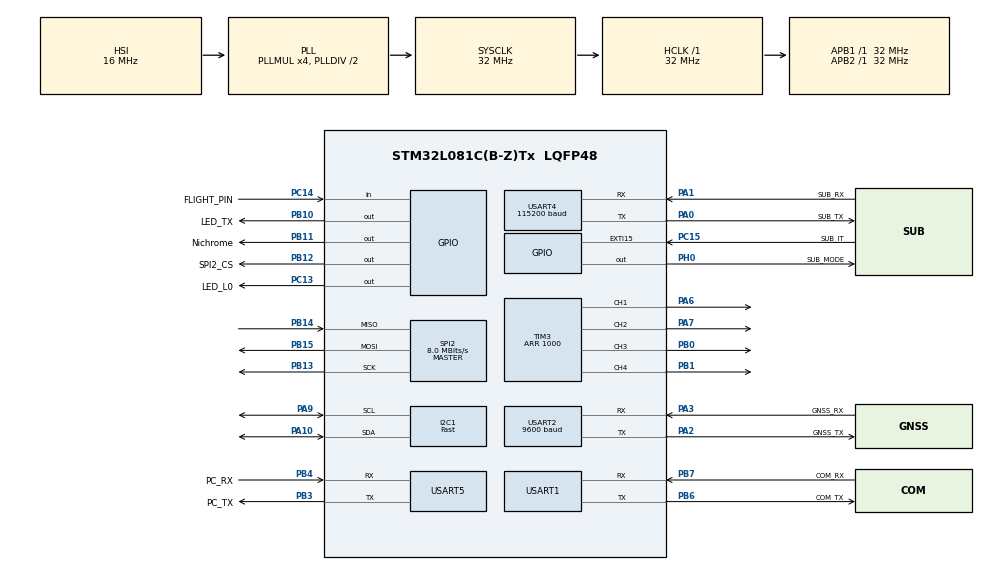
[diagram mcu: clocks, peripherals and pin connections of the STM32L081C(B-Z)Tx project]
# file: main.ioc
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I2C1.I2C_Speed_Mode=I2C_Fast
I2C1.Timing=0x00300F38
Mcu.Family=STM32L0
Mcu.Name=STM32L081C(B-Z)Tx
Mcu.Package=LQFP48
NVIC.EXTI4_15_IRQn=true\:2\:0\:true\:false\:true\:true\:true
NVIC.TIM2_IRQn=true\:1\:0\:true\:false\:true\:true\:true
PA0.GPIO_Label=SUB_TX
PA0.GPIO_PuPd=GPIO_PULLUP
PA0.Mode=Asynchronous
PA0.Signal=USART4_TX
PA1.GPIO_Label=SUB_RX
PA1.GPIO_PuPd=GPIO_PULLUP
PA1.Mode=Asynchronous
PA1.Signal=USART4_RX
PA10.Mode=I2C
PA10.Signal=I2C1_SDA
PA13.Mode=Serial_Wire
PA13.Signal=SYS_SWDIO
PA14.Mode=Serial_Wire
PA14.Signal=SYS_SWCLK
PA2.GPIO_Label=GNSS_TX
PA2.Mode=Asynchronous
PA2.Signal=USART2_TX
PA3.GPIO_Label=GNSS_RX
PA3.Mode=Asynchronous
PA3.Signal=USART2_RX
PA6.Signal=S_TIM3_CH1
PA7.Signal=S_TIM3_CH2
PA9.Mode=I2C
PA9.Signal=I2C1_SCL
PB0.Signal=S_TIM3_CH3
PB1.Signal=S_TIM3_CH4
PB10.GPIO_Label=LED_TX
PB10.Signal=GPIO_Output
PB11.GPIO_Label=Nichrome
PB11.Signal=GPIO_Output
PB12.GPIO_Label=SPI2_CS
PB12.GPIO_PuPd=GPIO_NOPULL
PB12.GPIO_Speed=GPIO_SPEED_FREQ_VERY_HIGH
PB12.PinState=GPIO_PIN_SET
PB12.Signal=GPIO_Output
PB13.Mode=Full_Duplex_Master
PB13.Signal=SPI2_SCK
PB14.Mode=Full_Duplex_Master
PB14.Signal=SPI2_MISO
PB15.Mode=Full_Duplex_Master
PB15.Signal=SPI2_MOSI
PB3.GPIO_Label=PC_TX
PB3.Mode=Asynchronous
PB3.Signal=USART5_TX
PB4.GPIO_Label=PC_RX
PB4.Mode=Asynchronous
PB4.Signal=USART5_RX
PB6.GPIO_Label=COM_TX
PB6.Mode=Asynchronous
PB6.Signal=USART1_TX
PB7.GPIO_Label=COM_RX
PB7.Mode=Asynchronous
PB7.Signal=USART1_RX
PC13.GPIO_Label=LED_L0
PC13.Signal=GPIO_Output
PC14-OSC32_IN.GPIO_Label=FLIGHT_PIN
PC14-OSC32_IN.Signal=GPIO_Input
PC15-OSC32_OUT.GPIO_Label=SUB_IT
PC15-OSC32_OUT.GPIO_ModeDefaultEXTI=GPIO_MODE_IT_RISING
PC15-OSC32_OUT.Signal=GPXTI15
PH0-OSC_IN.GPIO_Label=SUB_MODE
PH0-OSC_IN.Signal=GPIO_Output
ProjectManager.HeapSize=0x200
ProjectManager.StackSize=0x400
ProjectManager.TargetToolchain=Makefile
RCC.AHBFreq_Value=32000000
RCC.APB1Freq_Value=32000000
RCC.APB1TimFreq_Value=32000000
RCC.APB2Freq_Value=32000000
RCC.APB2TimFreq_Value=32000000
RCC.HCLKFreq_Value=32000000
RCC.HSE_VALUE=8000000
RCC.HSI16_VALUE=16000000
RCC.HSI_VALUE=16000000
RCC.LSE_VALUE=32768
RCC.MSI_VALUE=2097000
RCC.PLLMUL=RCC_PLLMUL_4
RCC.SYSCLKFreq_VALUE=32000000
RCC.SYSCLKSource=RCC_SYSCLKSOURCE_PLLCLK
RCC.VCOOutputFreq_Value=64000000
SH.S_TIM3_CH1.0=TIM3_CH1,PWM Generation1 CH1
SH.S_TIM3_CH2.0=TIM3_CH2,PWM Generation2 CH2
SH.S_TIM3_CH3.0=TIM3_CH3,PWM Generation3 CH3
SH.S_TIM3_CH4.0=TIM3_CH4,PWM Generation4 CH4
SPI2.BaudRatePrescaler=SPI_BAUDRATEPRESCALER_4
SPI2.CalculateBaudRate=8.0 MBits/s
SPI2.Direction=SPI_DIRECTION_2LINES
SPI2.Mode=SPI_MODE_MASTER
SPI2.VirtualType=VM_MASTER
TIM2.AutoReloadPreload=TIM_AUTORELOAD_PRELOAD_ENABLE
TIM2.Period=1000
TIM2.Prescaler=320
TIM3.Channel-PWM\ Generation1\ CH1=TIM_CHANNEL_1
TIM3.Channel-PWM\ Generation2\ CH2=TIM_CHANNEL_2
TIM3.Channel-PWM\ Generation3\ CH3=TIM_CHANNEL_3
TIM3.Channel-PWM\ Generation4\ CH4=TIM_CHANNEL_4
TIM3.Period=1000
USART1.DMADisableonRxErrorParam=ADVFEATURE_DMA_DISABLEONRXERROR
USART1.OverrunDisableParam=ADVFEATURE_OVERRUN_DISABLE
USART1.VirtualMode-Asynchronous=VM_ASYNC
USART2.BaudRate=9600
USART2.DMADisableonRxErrorParam=ADVFEATURE_DMA_DISABLEONRXERROR
USART2.OverrunDisableParam=ADVFEATURE_OVERRUN_DISABLE
USART2.SwapParam=ADVFEATURE_SWAP_DISABLE
USART2.VirtualMode-Asynchronous=VM_ASYNC
USART4.BaudRate=115200
USART4.DMADisableonRxErrorParam=ADVFEATURE_DMA_DISABLEONRXERROR
USART4.OverrunDisableParam=ADVFEATURE_OVERRUN_DISABLE
USART4.SwapParam=ADVFEATURE_SWAP_ENABLE
USART4.VirtualMode-Asynchronous=VM_ASYNC
USART5.DMADisableonRxErrorParam=ADVFEATURE_DMA_DISABLEONRXERROR
USART5.OverrunDisableParam=ADVFEATURE_OVERRUN_DISABLE
USART5.VirtualMode-Asynchronous=VM_ASYNC
VP_TIM2_VS_ClockSourceINT.Mode=Internal
board=custom

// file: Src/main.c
/* USER CODE BEGIN Header */
/**
  ******************************************************************************
  * @file           : main.c
  * @brief          : Main program body
  ******************************************************************************
  * @attention
  *
  * <h2><center>&copy; Copyright (c) 2019 STMicroelectronics.
  * All rights reserved.</center></h2>
  *
  * This software component is licensed by ST under BSD 3-Clause license,
  * the "License"; You may not use this file except in compliance with the
  * License. You may obtain a copy of the License at:
  *                        opensource.org/licenses/BSD-3-Clause
  *
  ******************************************************************************
  */
/* USER CODE END Header */

#include "main.h"

/* USER CODE BEGIN Includes */
#include <stdio.h>
#include <string.h>

#include "cansat.h"
#include "CUI.h"
#include "gnc.h"

/* USER CODE END Includes */

I2C_HandleTypeDef hi2c1;

SPI_HandleTypeDef hspi2;

TIM_HandleTypeDef htim2;
TIM_HandleTypeDef htim3;

UART_HandleTypeDef huart1;
UART_HandleTypeDef huart2;
UART_HandleTypeDef huart4;
UART_HandleTypeDef huart5;

/* USER CODE BEGIN PV */
void __io_putchar(uint8_t ch) {
	HAL_UART_Transmit(&huart5, &ch, 1, 1);
	HAL_UART_Transmit(&huart1, &ch, 1, 1); //COM
}
/* USER CODE END PV */

void SystemClock_Config(void);
static void MX_GPIO_Init(void);
static void MX_I2C1_Init(void);
static void MX_SPI2_Init(void);
static void MX_TIM3_Init(void);
static void MX_USART1_UART_Init(void);
static void MX_USART2_UART_Init(void);
static void MX_USART4_UART_Init(void);
static void MX_USART5_UART_Init(void);
static void MX_TIM2_Init(void);

/* USER CODE BEGIN 0 */

static img_t img_data = { 0 };
static uint8_t sub_rx_buff[11] = { 0 };
static cansat_t cansat_data;

void HAL_GPIO_EXTI_Callback(uint16_t GPIO_Pin) {
	for (int i = 0; i < 10; i++) {
		HAL_UART_Receive(&huart4, &sub_rx_buff[0], 1, 50);
		if (sub_rx_buff[0] == '$')break;
	}
	HAL_UART_Receive(&huart4, &sub_rx_buff[0], 11, 50);
	if (sub_rx_buff[0] == 'O') {
		img_data.name = (sub_rx_buff[1] << 8) + sub_rx_buff[2];
		img_data.xc = (sub_rx_buff[3] << 8) + sub_rx_buff[4];
		img_data.yc = (sub_rx_buff[5] << 8) + sub_rx_buff[6];
		img_data.s = (sub_rx_buff[7] << 16) + (sub_rx_buff[8] << 8) + sub_rx_buff[9];
	}
	else if (sub_rx_buff[0] == 'o') {
		img_data.name = (sub_rx_buff[2] << 8) + sub_rx_buff[3];
		img_data.xc = (sub_rx_buff[4] << 8) + sub_rx_buff[5];
		img_data.yc = (sub_rx_buff[6] << 8) + sub_rx_buff[7];
		img_data.s = (sub_rx_buff[8] << 16) + (sub_rx_buff[9] << 8) + sub_rx_buff[10];
	}
	else {
		return;
	}
}

void HAL_TIM_PeriodElapsedCallback(TIM_HandleTypeDef* htim) {
	if (htim == &htim2) {
		_motor(&cansat_data.motor, cansat_data.voltage);
	}
}

/* USER CODE END 0 */

int main(void)
{

  /* MCU Configuration--------------------------------------------------------*/

  /* Reset of all peripherals, Initializes the Flash interface and the Systick. */
  HAL_Init();

  /* Configure the system clock */
  SystemClock_Config();

  /* Initialize all configured peripherals */
  MX_GPIO_Init();
  MX_I2C1_Init();
  MX_SPI2_Init();
  MX_TIM3_Init();
  MX_USART1_UART_Init();
  MX_USART2_UART_Init();
  MX_USART4_UART_Init();
  MX_USART5_UART_Init();
  MX_TIM2_Init();
  /* USER CODE BEGIN 2 */

  //---------------------------------------Initialization BEGIN------------------------------------------------
  HAL_NVIC_DisableIRQ(EXTI4_15_IRQn);

  HAL_GPIO_WritePin(Nichrome_GPIO_Port, Nichrome_Pin, GPIO_PIN_RESET);

  HAL_Delay(500);

  printf("CanSat Main\n");

  HAL_GPIO_WritePin(LED_L0_GPIO_Port, LED_L0_Pin, GPIO_PIN_SET);
  HAL_Delay(200);
  HAL_GPIO_WritePin(LED_L0_GPIO_Port, LED_L0_Pin, GPIO_PIN_RESET);

  printf("INA226  = %02X\n", ina226_who_am_i());
  printf("LPS25HB = %01X\n", lps25h_who_am_i());
  printf("ADXL375 = %01X\n", adxl375_who_am_i());
  printf("JEDECID = %lX\n", flash_read_ID());

  init_I2C();
  init_gnss();
  init_pwm(&cansat_data.motor);

  update_sensor(&cansat_data);
  printf("TIME %02d:%02d:%02d\n", cansat_data.gnss.hh, cansat_data.gnss.mm, cansat_data.gnss.ss);

  cansat_data.mode = 0;
  cansat_data.log_num = 0;

  cansat_data.calc_press = cansat_data.press;
  cansat_data.press_d = 0;
  cansat_data.calc_press_d = 0;

  motor_Speed(&cansat_data.motor, 0, 0);
  motorStop();

  set_goalFromEEPROM(0);

  cansat_data.flash_address = get_startAddress(cansat_data.gnss.hh, cansat_data.gnss.mm, cansat_data.gnss.ss);

  printf("Flash address 0x%lX\n", cansat_data.flash_address);

  HAL_NVIC_EnableIRQ(EXTI4_15_IRQn);
  HAL_TIM_Base_Start_IT(&htim2);
  //---------------------------------------Initialization END------------------------------------------------

  /* USER CODE END 2 */

  /* Infinite loop */
  /* USER CODE BEGIN WHILE */
  while (1)
  {

	  //Enter CUI Mode
	  if (get_char(20) == 'q') {
		  HAL_NVIC_DisableIRQ(EXTI4_15_IRQn);
		  HAL_TIM_Base_Stop_IT(&htim2);
		  motorStop();

		  CUI_main();

		  HAL_NVIC_EnableIRQ(EXTI4_15_IRQn);
		  HAL_TIM_Base_Start_IT(&htim2);
	  };

	  //Update
	  update_sensor(&cansat_data);
	  cansat_data.img = img_data;

	  //Calculation
	  switch (cansat_data.mode) {
	  case 0: //初回のみ
		  cansat_data.mode = 1;
		  break;
	  case 1:
		  mode1_Standby(&cansat_data);
		  break;
	  case 2:
		  mode2_Descent(&cansat_data);
		  break;
	  case 3:
		  mode3_Separation(&cansat_data);
		  break;
	  case 4:
		  mode4_Avoidance(&cansat_data);
		  break;
	  case 5:
		  mode5_Calibration(&cansat_data);
		  break;
	  case 6:
		  mode6_GNSS(&cansat_data);
		  break;
	  case 7:
		  mode7_Optical(&cansat_data);
		  break;
	  case 8:
		  mode8_Goal(&cansat_data);
		  break;
	  default:
		  motor_Speed(&cansat_data.motor, 0, 0);
		  break;
	  }

	  //Save and Print
	  write_log(&cansat_data);

	  HAL_GPIO_TogglePin(LED_L0_GPIO_Port, LED_L0_Pin);

  }
  /* USER CODE END 3 */
}

void SystemClock_Config(void)
{
  RCC_OscInitTypeDef RCC_OscInitStruct = {0};
  RCC_ClkInitTypeDef RCC_ClkInitStruct = {0};
  RCC_PeriphCLKInitTypeDef PeriphClkInit = {0};

  /** Configure the main internal regulator output voltage
  */
  __HAL_PWR_VOLTAGESCALING_CONFIG(PWR_REGULATOR_VOLTAGE_SCALE1);
  /** Initializes the CPU, AHB and APB busses clocks
  */
  RCC_OscInitStruct.OscillatorType = RCC_OSCILLATORTYPE_HSI;
  RCC_OscInitStruct.HSIState = RCC_HSI_ON;
  RCC_OscInitStruct.HSICalibrationValue = RCC_HSICALIBRATION_DEFAULT;
  RCC_OscInitStruct.PLL.PLLState = RCC_PLL_ON;
  RCC_OscInitStruct.PLL.PLLSource = RCC_PLLSOURCE_HSI;
  RCC_OscInitStruct.PLL.PLLMUL = RCC_PLLMUL_4;
  RCC_OscInitStruct.PLL.PLLDIV = RCC_PLLDIV_2;
  if (HAL_RCC_OscConfig(&RCC_OscInitStruct) != HAL_OK)
  {
    Error_Handler();
  }
  /** Initializes the CPU, AHB and APB busses clocks
  */
  RCC_ClkInitStruct.ClockType = RCC_CLOCKTYPE_HCLK|RCC_CLOCKTYPE_SYSCLK
                              |RCC_CLOCKTYPE_PCLK1|RCC_CLOCKTYPE_PCLK2;
  RCC_ClkInitStruct.SYSCLKSource = RCC_SYSCLKSOURCE_PLLCLK;
  RCC_ClkInitStruct.AHBCLKDivider = RCC_SYSCLK_DIV1;
  RCC_ClkInitStruct.APB1CLKDivider = RCC_HCLK_DIV1;
  RCC_ClkInitStruct.APB2CLKDivider = RCC_HCLK_DIV1;

  if (HAL_RCC_ClockConfig(&RCC_ClkInitStruct, FLASH_LATENCY_1) != HAL_OK)
  {
    Error_Handler();
  }
  PeriphClkInit.PeriphClockSelection = RCC_PERIPHCLK_USART1|RCC_PERIPHCLK_USART2
                              |RCC_PERIPHCLK_I2C1;
  PeriphClkInit.Usart1ClockSelection = RCC_USART1CLKSOURCE_PCLK2;
  PeriphClkInit.Usart2ClockSelection = RCC_USART2CLKSOURCE_PCLK1;
  PeriphClkInit.I2c1ClockSelection = RCC_I2C1CLKSOURCE_PCLK1;
  if (HAL_RCCEx_PeriphCLKConfig(&PeriphClkInit) != HAL_OK)
  {
    Error_Handler();
  }
}

static void MX_I2C1_Init(void)
{

  hi2c1.Instance = I2C1;
  hi2c1.Init.Timing = 0x00300F38;
  hi2c1.Init.OwnAddress1 = 0;
  hi2c1.Init.AddressingMode = I2C_ADDRESSINGMODE_7BIT;
  hi2c1.Init.DualAddressMode = I2C_DUALADDRESS_DISABLE;
  hi2c1.Init.OwnAddress2 = 0;
  hi2c1.Init.OwnAddress2Masks = I2C_OA2_NOMASK;
  hi2c1.Init.GeneralCallMode = I2C_GENERALCALL_DISABLE;
  hi2c1.Init.NoStretchMode = I2C_NOSTRETCH_DISABLE;
  if (HAL_I2C_Init(&hi2c1) != HAL_OK)
  {
    Error_Handler();
  }
  /** Configure Analogue filter
  */
  if (HAL_I2CEx_ConfigAnalogFilter(&hi2c1, I2C_ANALOGFILTER_ENABLE) != HAL_OK)
  {
    Error_Handler();
  }
  /** Configure Digital filter
  */
  if (HAL_I2CEx_ConfigDigitalFilter(&hi2c1, 0) != HAL_OK)
  {
    Error_Handler();
  }

}

static void MX_SPI2_Init(void)
{

  /* SPI2 parameter configuration*/
  hspi2.Instance = SPI2;
  hspi2.Init.Mode = SPI_MODE_MASTER;
  hspi2.Init.Direction = SPI_DIRECTION_2LINES;
  hspi2.Init.DataSize = SPI_DATASIZE_8BIT;
  hspi2.Init.CLKPolarity = SPI_POLARITY_LOW;
  hspi2.Init.CLKPhase = SPI_PHASE_1EDGE;
  hspi2.Init.NSS = SPI_NSS_SOFT;
  hspi2.Init.BaudRatePrescaler = SPI_BAUDRATEPRESCALER_4;
  hspi2.Init.FirstBit = SPI_FIRSTBIT_MSB;
  hspi2.Init.TIMode = SPI_TIMODE_DISABLE;
  hspi2.Init.CRCCalculation = SPI_CRCCALCULATION_DISABLE;
  hspi2.Init.CRCPolynomial = 7;
  if (HAL_SPI_Init(&hspi2) != HAL_OK)
  {
    Error_Handler();
  }

}

static void MX_TIM2_Init(void)
{

  TIM_ClockConfigTypeDef sClockSourceConfig = {0};
  TIM_MasterConfigTypeDef sMasterConfig = {0};

  htim2.Instance = TIM2;
  htim2.Init.Prescaler = 320;
  htim2.Init.CounterMode = TIM_COUNTERMODE_UP;
  htim2.Init.Period = 1000;
  htim2.Init.ClockDivision = TIM_CLOCKDIVISION_DIV1;
  htim2.Init.AutoReloadPreload = TIM_AUTORELOAD_PRELOAD_ENABLE;
  if (HAL_TIM_Base_Init(&htim2) != HAL_OK)
  {
    Error_Handler();
  }
  sClockSourceConfig.ClockSource = TIM_CLOCKSOURCE_INTERNAL;
  if (HAL_TIM_ConfigClockSource(&htim2, &sClockSourceConfig) != HAL_OK)
  {
    Error_Handler();
  }
  sMasterConfig.MasterOutputTrigger = TIM_TRGO_RESET;
  sMasterConfig.MasterSlaveMode = TIM_MASTERSLAVEMODE_DISABLE;
  if (HAL_TIMEx_MasterConfigSynchronization(&htim2, &sMasterConfig) != HAL_OK)
  {
    Error_Handler();
  }

}

static void MX_TIM3_Init(void)
{

  TIM_MasterConfigTypeDef sMasterConfig = {0};
  TIM_OC_InitTypeDef sConfigOC = {0};

  htim3.Instance = TIM3;
  htim3.Init.Prescaler = 0;
  htim3.Init.CounterMode = TIM_COUNTERMODE_UP;
  htim3.Init.Period = 1000;
  htim3.Init.ClockDivision = TIM_CLOCKDIVISION_DIV1;
  htim3.Init.AutoReloadPreload = TIM_AUTORELOAD_PRELOAD_DISABLE;
  if (HAL_TIM_PWM_Init(&htim3) != HAL_OK)
  {
    Error_Handler();
  }
  sMasterConfig.MasterOutputTrigger = TIM_TRGO_RESET;
  sMasterConfig.MasterSlaveMode = TIM_MASTERSLAVEMODE_DISABLE;
  if (HAL_TIMEx_MasterConfigSynchronization(&htim3, &sMasterConfig) != HAL_OK)
  {
    Error_Handler();
  }
  sConfigOC.OCMode = TIM_OCMODE_PWM1;
  sConfigOC.Pulse = 0;
  sConfigOC.OCPolarity = TIM_OCPOLARITY_HIGH;
  sConfigOC.OCFastMode = TIM_OCFAST_DISABLE;
  if (HAL_TIM_PWM_ConfigChannel(&htim3, &sConfigOC, TIM_CHANNEL_1) != HAL_OK)
  {
    Error_Handler();
  }
  /*if (HAL_TIMEx_RemapConfig(&htim3, TIM3_TI1_GPIO) != HAL_OK)
  {
    Error_Handler();
  }*/
  if (HAL_TIM_PWM_ConfigChannel(&htim3, &sConfigOC, TIM_CHANNEL_2) != HAL_OK)
  {
    Error_Handler();
  }
  if (HAL_TIM_PWM_ConfigChannel(&htim3, &sConfigOC, TIM_CHANNEL_3) != HAL_OK)
  {
    Error_Handler();
  }
  if (HAL_TIM_PWM_ConfigChannel(&htim3, &sConfigOC, TIM_CHANNEL_4) != HAL_OK)
  {
    Error_Handler();
  }
  HAL_TIM_MspPostInit(&htim3);

}

static void MX_USART1_UART_Init(void)
{

  huart1.Instance = USART1;
  huart1.Init.BaudRate = 115200;
  huart1.Init.WordLength = UART_WORDLENGTH_8B;
  huart1.Init.StopBits = UART_STOPBITS_1;
  huart1.Init.Parity = UART_PARITY_NONE;
  huart1.Init.Mode = UART_MODE_TX_RX;
  huart1.Init.HwFlowCtl = UART_HWCONTROL_NONE;
  huart1.Init.OverSampling = UART_OVERSAMPLING_16;
  huart1.Init.OneBitSampling = UART_ONE_BIT_SAMPLE_DISABLE;
  huart1.AdvancedInit.AdvFeatureInit = UART_ADVFEATURE_RXOVERRUNDISABLE_INIT|UART_ADVFEATURE_DMADISABLEONERROR_INIT;
  huart1.AdvancedInit.OverrunDisable = UART_ADVFEATURE_OVERRUN_DISABLE;
  huart1.AdvancedInit.DMADisableonRxError = UART_ADVFEATURE_DMA_DISABLEONRXERROR;
  if (HAL_UART_Init(&huart1) != HAL_OK)
  {
    Error_Handler();
  }

}

static void MX_USART2_UART_Init(void)
{

  huart2.Instance = USART2;
  huart2.Init.BaudRate = 9600;
  huart2.Init.WordLength = UART_WORDLENGTH_8B;
  huart2.Init.StopBits = UART_STOPBITS_1;
  huart2.Init.Parity = UART_PARITY_NONE;
  huart2.Init.Mode = UART_MODE_TX_RX;
  huart2.Init.HwFlowCtl = UART_HWCONTROL_NONE;
  huart2.Init.OverSampling = UART_OVERSAMPLING_16;
  huart2.Init.OneBitSampling = UART_ONE_BIT_SAMPLE_DISABLE;
  huart2.AdvancedInit.AdvFeatureInit = UART_ADVFEATURE_RXOVERRUNDISABLE_INIT|UART_ADVFEATURE_DMADISABLEONERROR_INIT;
  huart2.AdvancedInit.OverrunDisable = UART_ADVFEATURE_OVERRUN_DISABLE;
  huart2.AdvancedInit.DMADisableonRxError = UART_ADVFEATURE_DMA_DISABLEONRXERROR;
  if (HAL_UART_Init(&huart2) != HAL_OK)
  {
    Error_Handler();
  }

}

static void MX_USART4_UART_Init(void)
{

  huart4.Instance = USART4;
  huart4.Init.BaudRate = 115200;
  huart4.Init.WordLength = UART_WORDLENGTH_8B;
  huart4.Init.StopBits = UART_STOPBITS_1;
  huart4.Init.Parity = UART_PARITY_NONE;
  huart4.Init.Mode = UART_MODE_TX_RX;
  huart4.Init.HwFlowCtl = UART_HWCONTROL_NONE;
  huart4.Init.OverSampling = UART_OVERSAMPLING_16;
  huart4.Init.OneBitSampling = UART_ONE_BIT_SAMPLE_DISABLE;
  huart4.AdvancedInit.AdvFeatureInit = UART_ADVFEATURE_SWAP_INIT|UART_ADVFEATURE_RXOVERRUNDISABLE_INIT
                              |UART_ADVFEATURE_DMADISABLEONERROR_INIT;
  huart4.AdvancedInit.Swap = UART_ADVFEATURE_SWAP_ENABLE;
  huart4.AdvancedInit.OverrunDisable = UART_ADVFEATURE_OVERRUN_DISABLE;
  huart4.AdvancedInit.DMADisableonRxError = UART_ADVFEATURE_DMA_DISABLEONRXERROR;
  if (HAL_UART_Init(&huart4) != HAL_OK)
  {
    Error_Handler();
  }

}

static void MX_USART5_UART_Init(void)
{

  huart5.Instance = USART5;
  huart5.Init.BaudRate = 115200;
  huart5.Init.WordLength = UART_WORDLENGTH_8B;
  huart5.Init.StopBits = UART_STOPBITS_1;
  huart5.Init.Parity = UART_PARITY_NONE;
  huart5.Init.Mode = UART_MODE_TX_RX;
  huart5.Init.HwFlowCtl = UART_HWCONTROL_NONE;
  huart5.Init.OverSampling = UART_OVERSAMPLING_16;
  huart5.Init.OneBitSampling = UART_ONE_BIT_SAMPLE_DISABLE;
  huart5.AdvancedInit.AdvFeatureInit = UART_ADVFEATURE_RXOVERRUNDISABLE_INIT|UART_ADVFEATURE_DMADISABLEONERROR_INIT;
  huart5.AdvancedInit.OverrunDisable = UART_ADVFEATURE_OVERRUN_DISABLE;
  huart5.AdvancedInit.DMADisableonRxError = UART_ADVFEATURE_DMA_DISABLEONRXERROR;
  if (HAL_UART_Init(&huart5) != HAL_OK)
  {
    Error_Handler();
  }

}

static void MX_GPIO_Init(void)
{
  GPIO_InitTypeDef GPIO_InitStruct = {0};

  /* GPIO Ports Clock Enable */
  __HAL_RCC_GPIOC_CLK_ENABLE();
  __HAL_RCC_GPIOH_CLK_ENABLE();
  __HAL_RCC_GPIOA_CLK_ENABLE();
  __HAL_RCC_GPIOB_CLK_ENABLE();

  /*Configure GPIO pin Output Level */
  HAL_GPIO_WritePin(LED_L0_GPIO_Port, LED_L0_Pin, GPIO_PIN_RESET);

  /*Configure GPIO pin Output Level */
  HAL_GPIO_WritePin(SUB_MODE_GPIO_Port, SUB_MODE_Pin, GPIO_PIN_RESET);

  /*Configure GPIO pin Output Level */
  HAL_GPIO_WritePin(GPIOB, LED_TX_Pin|Nichrome_Pin, GPIO_PIN_RESET);

  /*Configure GPIO pin Output Level */
  HAL_GPIO_WritePin(SPI2_CS_GPIO_Port, SPI2_CS_Pin, GPIO_PIN_SET);

  /*Configure GPIO pin : LED_L0_Pin */
  GPIO_InitStruct.Pin = LED_L0_Pin;
  GPIO_InitStruct.Mode = GPIO_MODE_OUTPUT_PP;
  GPIO_InitStruct.Pull = GPIO_NOPULL;
  GPIO_InitStruct.Speed = GPIO_SPEED_FREQ_LOW;
  HAL_GPIO_Init(LED_L0_GPIO_Port, &GPIO_InitStruct);

  /*Configure GPIO pin : FLIGHT_PIN_Pin */
  GPIO_InitStruct.Pin = FLIGHT_PIN_Pin;
  GPIO_InitStruct.Mode = GPIO_MODE_INPUT;
  GPIO_InitStruct.Pull = GPIO_NOPULL;
  HAL_GPIO_Init(FLIGHT_PIN_GPIO_Port, &GPIO_InitStruct);

  /*Configure GPIO pin : SUB_IT_Pin */
  GPIO_InitStruct.Pin = SUB_IT_Pin;
  GPIO_InitStruct.Mode = GPIO_MODE_IT_RISING;
  GPIO_InitStruct.Pull = GPIO_NOPULL;
  HAL_GPIO_Init(SUB_IT_GPIO_Port, &GPIO_InitStruct);

  /*Configure GPIO pin : SUB_MODE_Pin */
  GPIO_InitStruct.Pin = SUB_MODE_Pin;
  GPIO_InitStruct.Mode = GPIO_MODE_OUTPUT_PP;
  GPIO_InitStruct.Pull = GPIO_NOPULL;
  GPIO_InitStruct.Speed = GPIO_SPEED_FREQ_LOW;
  HAL_GPIO_Init(SUB_MODE_GPIO_Port, &GPIO_InitStruct);

  /*Configure GPIO pins : LED_TX_Pin Nichrome_Pin */
  GPIO_InitStruct.Pin = LED_TX_Pin|Nichrome_Pin;
  GPIO_InitStruct.Mode = GPIO_MODE_OUTPUT_PP;
  GPIO_InitStruct.Pull = GPIO_NOPULL;
  GPIO_InitStruct.Speed = GPIO_SPEED_FREQ_LOW;
  HAL_GPIO_Init(GPIOB, &GPIO_InitStruct);

  /*Configure GPIO pin : SPI2_CS_Pin */
  GPIO_InitStruct.Pin = SPI2_CS_Pin;
  GPIO_InitStruct.Mode = GPIO_MODE_OUTPUT_PP;
  GPIO_InitStruct.Pull = GPIO_NOPULL;
  GPIO_InitStruct.Speed = GPIO_SPEED_FREQ_VERY_HIGH;
  HAL_GPIO_Init(SPI2_CS_GPIO_Port, &GPIO_InitStruct);

  /* EXTI interrupt init*/
  HAL_NVIC_SetPriority(EXTI4_15_IRQn, 2, 0);
  HAL_NVIC_EnableIRQ(EXTI4_15_IRQn);

}

void Error_Handler(void)
{
}

/************************ (C) COPYRIGHT STMicroelectronics *****END OF FILE****/
